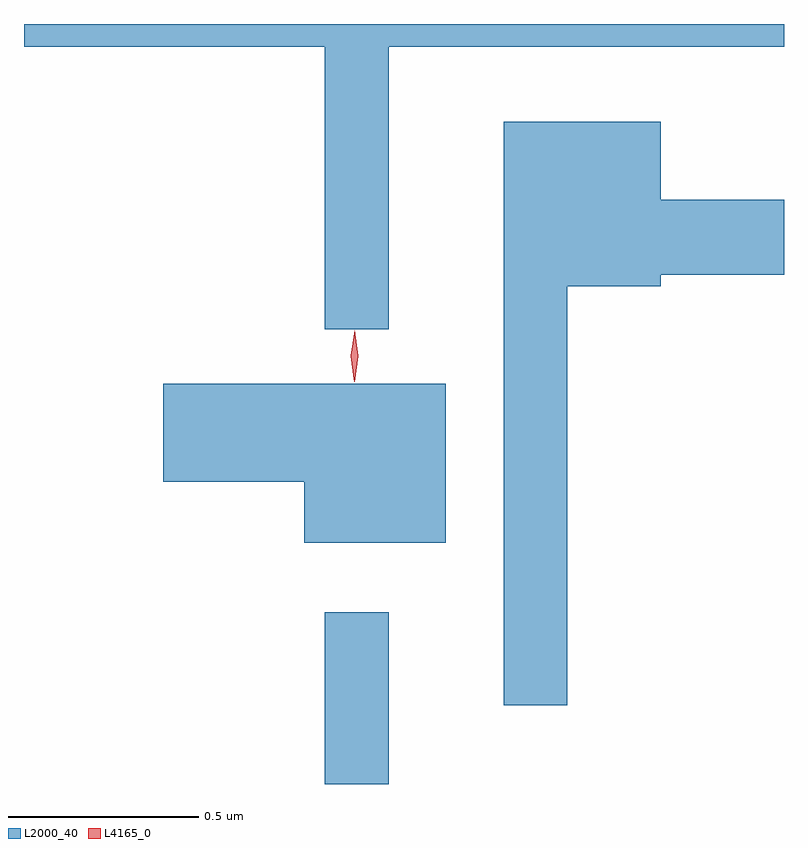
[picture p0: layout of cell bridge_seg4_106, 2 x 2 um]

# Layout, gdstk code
import gdstk
lib = gdstk.Library(unit=1e-6, precision=1e-09)
def R(c, l, rs):  # rectangles x0, y0, x1, y1
    for r in rs: c.add(gdstk.rectangle(r[:2], r[2:], *l))
def P(c, l, *ps):  # polygons
    for p in ps: c.add(gdstk.Polygon(p, *l))
L2000_40 = (2000, 40)
L4165_0 = (4165, 0)

bridge_seg4_106 = lib.new_cell('bridge_seg4_106')
R(bridge_seg4_106, L2000_40, [(798.101,1370.496,798.269,1370.948)])
P(bridge_seg4_106, L2000_40, [(798.269,1372.436),(799.309,1372.436),(799.309,1372.496),(797.309,1372.496),(797.309,1372.436),(798.101,1372.436),(798.101,1371.693),(798.269,1371.693)],
  [(798.739,1371.806),(798.984,1371.806),(798.984,1371.836),(799.309,1371.836),(799.309,1372.034),(798.984,1372.034),(798.984,1372.239),(798.571,1372.239),(798.571,1370.703),(798.739,1370.703)],
  [(798.419,1371.549),(797.676,1371.549),(797.676,1371.291),(798.046,1371.291),(798.046,1371.131),(798.419,1371.131)])
P(bridge_seg4_106, L4165_0, [(798.178,1371.554),(798.178,1371.554),(798.169,1371.622),(798.179,1371.69),(798.18,1371.69),(798.18,1371.69),(798.189,1371.622),(798.179,1371.554)],
  [(798.178,1371.56),(798.177,1371.561),(798.169,1371.624),(798.179,1371.686),(798.18,1371.687),(798.18,1371.686),(798.189,1371.623),(798.178,1371.561)])

lib.write_gds('bridge_seg4_106.gds')
